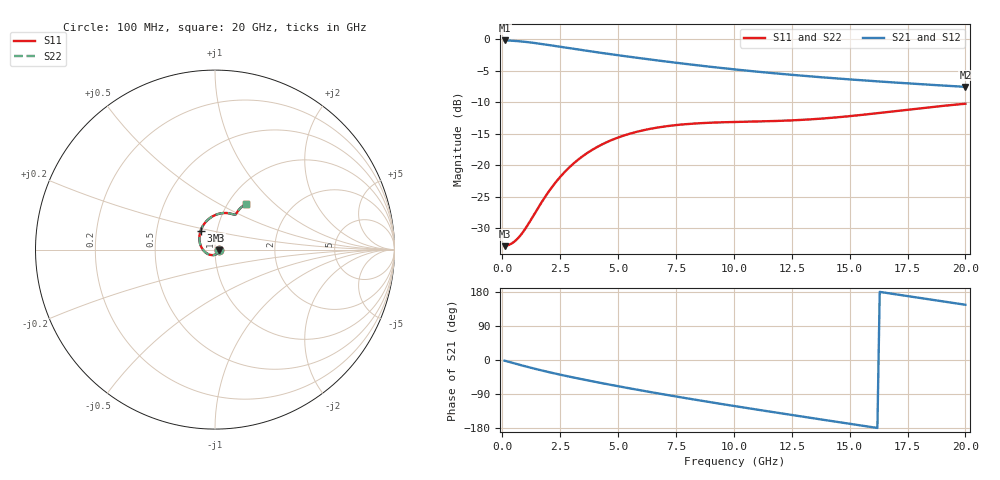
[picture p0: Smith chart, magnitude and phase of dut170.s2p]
! Created with skrf 1.9.0 (http://scikit-rf.org).
# GHz S RI R 50.0
!freq ReS11 ImS11 ReS21 ImS21 ReS12 ImS12 ReS22 ImS22
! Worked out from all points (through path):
!   200 points, 100 MHz to 20 GHz, reference 50 ohm
!   highest |S21| = -0.20 dB at 100 MHz (marker M1); lowest = -7.6 dB at 20 GHz (marker M2)
!   group delay of S21, straight-line fit = 28.4 ps
!   lowest |S11| = -32.9 dB at 100 MHz (marker M3), VSWR 1.05, Z = 52.3 - j0.411 ohm
!   |S11| at or under -10 dB: start of sweep to end of sweep
!   |S22| runs from -32.9 to -10.3 dB; largest |S21 - S12| = 2e-15
!   S11 on the Smith chart (normalised r, x): 100 MHz: 1.05, -0.01; 3.9 GHz: 0.83, +0.18; 20 GHz: 1.22, +0.68
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0.1  0.0224 -0.00393  0.9766 -0.0297  0.9766 -0.0297  0.0224 -0.00393
0.5  0.0146 -0.0197  0.9594 -0.1444  0.9594 -0.1444  0.0146 -0.0197
0.8  0.0026 -0.0278  0.9337 -0.225  0.9337 -0.225  0.0026 -0.0278
1.3  -0.0242 -0.0299  0.8723 -0.3438  0.8723 -0.3438  -0.0242 -0.0299
1.7  -0.0463 -0.0207  0.8122 -0.4234  0.8122 -0.4234  -0.0463 -0.0207
2.1  -0.065 -0.00369  0.7468 -0.4898  0.7468 -0.4898  -0.065 -0.00369
2.6  -0.0808 0.0248  0.6617 -0.5563  0.6617 -0.5563  -0.0808 0.0248
3  -0.0865 0.0502  0.5931 -0.5983  0.5931 -0.5983  -0.0865 0.0502
3.5  -0.0857 0.0821  0.5079 -0.6388  0.5079 -0.6388  -0.0857 0.0821
3.9  -0.0798 0.106  0.4409 -0.6629  0.4409 -0.6629  -0.0798 0.106
4.6  -0.0613 0.142  0.3272 -0.6896  0.3272 -0.6896  -0.0613 0.142
5.3  -0.0367 0.169  0.2193 -0.6993  0.2193 -0.6993  -0.0367 0.169
6  -0.00992 0.1872  0.1182 -0.6945  0.1182 -0.6945  -0.00992 0.1872
6.8  0.0196 0.1991  0.0124 -0.6743  0.0124 -0.6743  0.0196 0.1991
8.4  0.0671 0.2036  -0.1658 -0.5986  -0.1658 -0.5986  0.0671 0.2036
10.1  0.0969 0.1977  -0.3063 -0.4853  -0.3063 -0.4853  0.0969 0.1977
11.7  0.1105 0.1945  -0.3963 -0.3626  -0.3963 -0.3626  0.1105 0.1945
13.4  0.1179 0.1991  -0.4517 -0.2255  -0.4517 -0.2255  0.1179 0.1991
15  0.1249 0.2105  -0.4694 -0.0973  -0.4694 -0.0973  0.1249 0.2105
16.7  0.137 0.2266  -0.4548 0.0315  -0.4548 0.0315  0.137 0.2266
18.3  0.1535 0.2412  -0.4136 0.1397  -0.4136 0.1397  0.1535 0.2412
20  0.1747 0.2525  -0.3457 0.2353  -0.3457 0.2353  0.1747 0.2525
